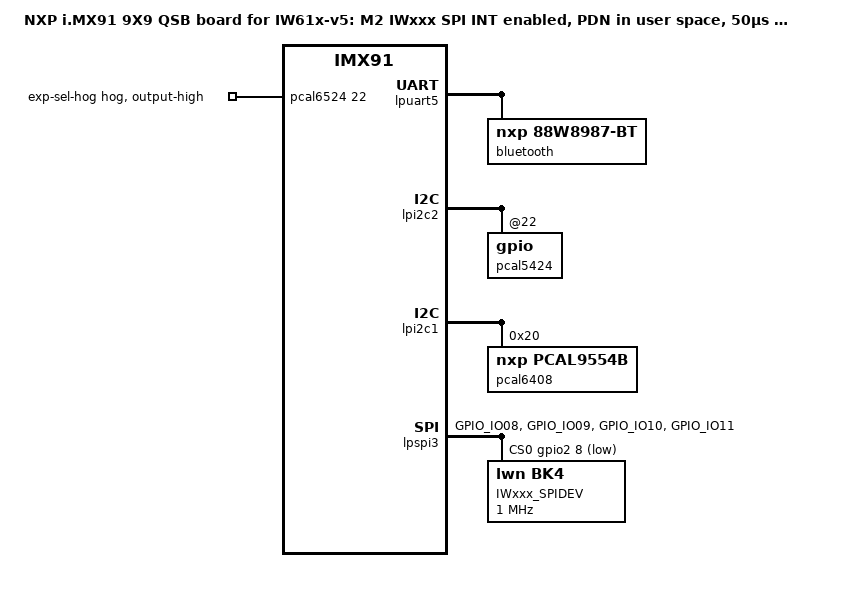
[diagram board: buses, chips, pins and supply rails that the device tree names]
// SPDX-License-Identifier: (GPL-2.0+ OR MIT)
/*
 * Copyright 2024-2025 NXP
 */

/* Supported for chipsets:
 - 9177
 - IW610
 Chip support list end */

#include "imx91-9x9-qsb.dts"

/ {
	// Patch for IW61x:
	// v1: ffu_gpio_irq (make GPIO_SPI_INT interruptible), bluetooth at 3M
	// v2: make gpio IW61x_PD_N, M2 Murata_SPI_ENABLE, IW61x_IND_RST_15_4 drivable from userspace
	// v3: make gpio IW61x_PD_N, IW61x_IND_RST_15_4 drivable from userspace
	// v4: gpio naming and options description in model
	// v5: SPI 50µs interleaved
	model = "NXP i.MX91 9X9 QSB board for IW61x-v5: M2 IWxxx SPI INT enabled, PDN in user space, 50µs delay";
};

&reg_usdhc3_vmmc {
		// Remap gpio to P1_0 which is not used AND not connected (R131: DNP) to leave pcal6524 20 free for the user space
		gpio = <&pcal6524 9 GPIO_ACTIVE_HIGH>;
		//gpio = <&pcal6524 20 GPIO_ACTIVE_HIGH>;
};

&lpuart5 {
		/* BT */
		pinctrl-names = "default";
		pinctrl-assert-gpios = <&pcal6524 19 GPIO_ACTIVE_HIGH>;
		pinctrl-0 = <&pinctrl_uart5>;
		status = "okay";

		bluetooth {
				compatible = "nxp,88w8987-bt";
				fw-init-baudrate = <3000000>;
		};
};

&flexcan2 {
	    status = "disabled";
};

&lpuart7 {
	status = "disabled";
};


/* enable lpspi3 and lpspi5 pads on RPI */
&pcal6524 {
		/* EXP_SEL selects pins between board and RPi */
		exp-sel-hog {
				gpio-hog;
				gpios = <22 GPIO_ACTIVE_HIGH>;
				output-high;
		};
};

&lpi2c2 {
	pcal5424: gpio@22 {
		gpio-line-names = "", "", "", "", "", "", "", "", "", "", "IWxxx_NB_SPI_INT", "", "", "", "", "", "", "", "", "", "IWxxx_PD_N";
	};
};

&lpi2c1 {
	pcal6408: gpio@20 {
		compatible = "nxp,pcal9554b";
		reg = <0x20>;
		gpio-controller;
		#gpio-cells = <2>;
		status = "okay";
		gpio-line-names = "IWxxx_NB_SPI_ENA", "IWxxx_NB_IND_RST_15_4";
	};
};
&lpspi3 {
	fsl,spi-num-chipselects = <1>;
	pinctrl-names = "default", "sleep";
	pinctrl-0 = <&pinctrl_lpspi3>;
	pinctrl-1 = <&pinctrl_lpspi3>;
	cs-gpios = <&gpio2 8 GPIO_ACTIVE_LOW>;
	pinctrl-assert-gpios = <&adp5585gpio 4 GPIO_ACTIVE_LOW>;
	pinctrl-assert-gpios = <&pcal6408 0 GPIO_ACTIVE_HIGH>;
	status = "okay";

	spidev0: spi@0 {
		reg = <0>;
		compatible = "lwn,bk4";
		spi-max-frequency = <1000000>;
		spi-cs-inactive-delay-ns = <50000>;
		label="IWxxx_SPIDEV";
	};
};

&iomuxc {
	pinctrl_lpspi3: lpspi3grp {
		fsl,pins = <
			MX91_PAD_GPIO_IO08__GPIO2_IO8       0x3fe
			MX91_PAD_GPIO_IO09__LPSPI3_SIN      0x3fe
			MX91_PAD_GPIO_IO10__LPSPI3_SOUT     0x3fe
			MX91_PAD_GPIO_IO11__LPSPI3_SCK      0x3fe
		>;
	};
};
